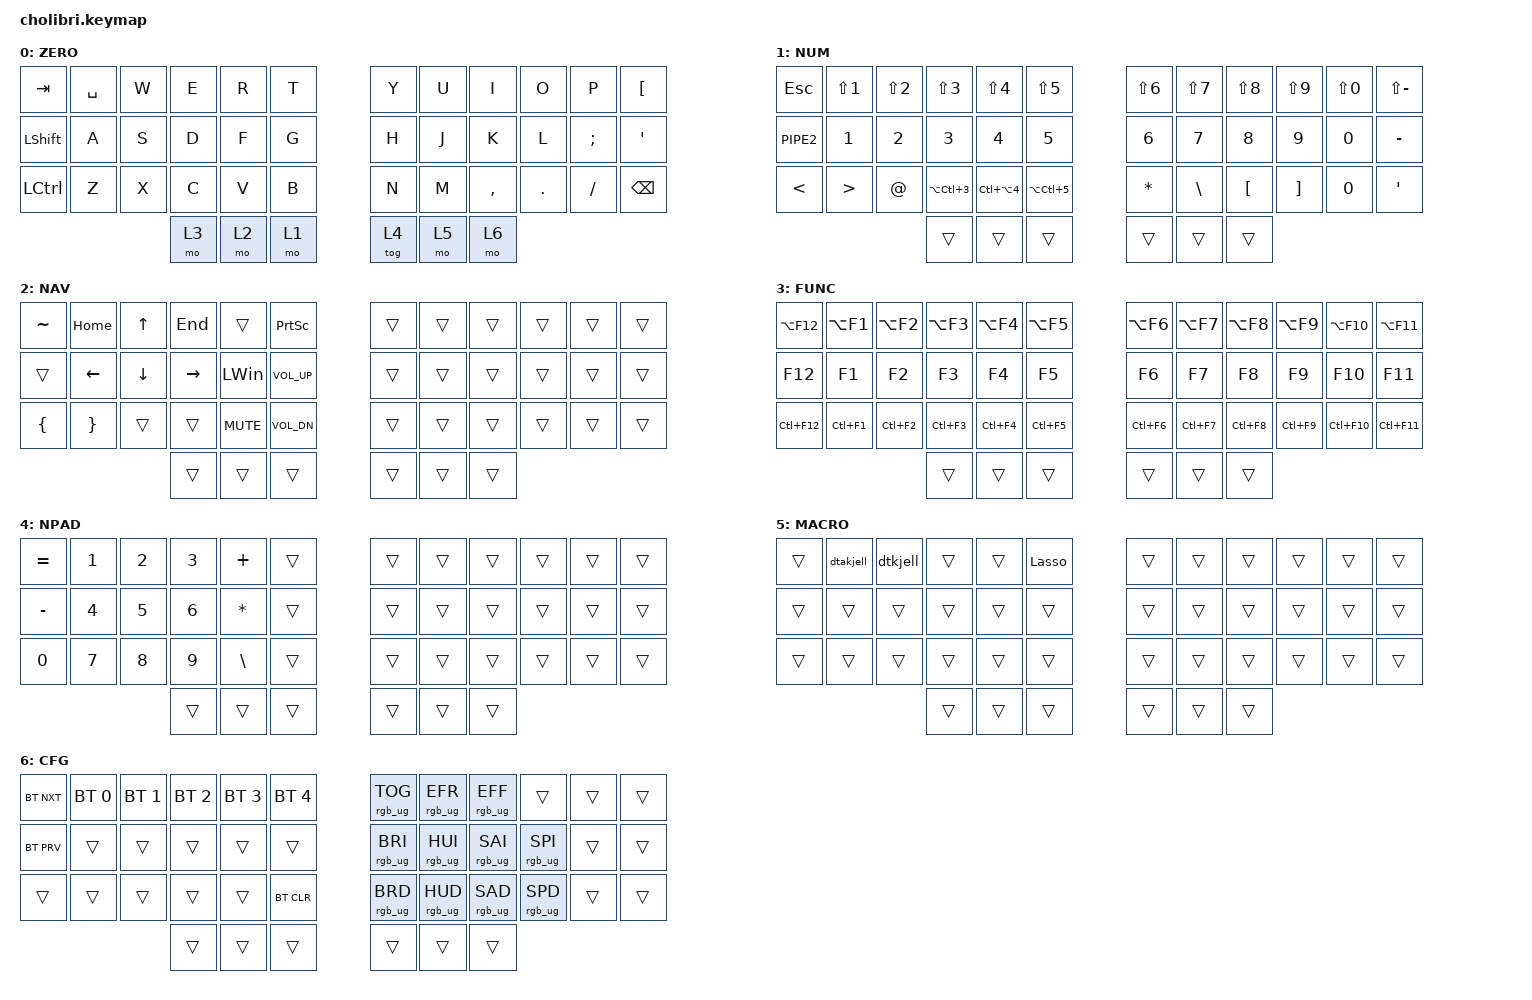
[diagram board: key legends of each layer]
/*
 * Copyright (c) 2020 The ZMK Contributors
 *
 * SPDX-License-Identifier: MIT
 */

#include <behaviors.dtsi>
#include <dt-bindings/zmk/keys.h>
#include <dt-bindings/zmk/bt.h>
#include <dt-bindings/zmk/ext_power.h>
#include <dt-bindings/zmk/outputs.h>
#include <dt-bindings/zmk/mouse.h>

/ {
    combos {
        compatible = "zmk,combos";

        dtpass {
            bindings = <&dtpass>;
            key-positions = <5 4 3>;
        };

        dtapass {
            bindings = <&none>;
            key-positions = <29 28 27>;
        };

        Winlock {
            bindings = <&none>;
            key-positions = <0 11>;
        };

        delete {
            bindings = <&kp DEL>;
            key-positions = <29 38>;
        };
    };

    macros {
        dtapass: dtapass {
            compatible = "zmk,behavior-macro";
            #binding-cells = <0>;
            bindings = <&none &kp F &kp I &kp K &kp A &kp LS(T) &kp LS(I) &kp LS(L) &kp LS(L) &kp M &kp I &kp D &kp D &kp A &kp G &kp N3 &kp N2 &kp N1 &kp N9 &kp EXCL>;
            label = "DTAPASS";
        };

        dtpass: dtpass {
            compatible = "zmk,behavior-macro";
            #binding-cells = <0>;
            bindings = <&none &kp F &kp I &kp K &kp A &kp LS(T) &kp LS(I) &kp LS(L) &kp LS(L) &kp L &kp U &kp N &kp C &kp H &kp N3 &kp N2 &kp N1 &kp N9 &kp EXCL &kp QMARK>;
            label = "DTPASS";
        };

        lock: lock {
            compatible = "zmk,behavior-macro";
            #binding-cells = <0>;
            bindings = <&none &kp LG(L)>;
            label = "LOCK";
        };

        dtakjell: dtakjell {
            compatible = "zmk,behavior-macro";
            #binding-cells = <0>;
            bindings = <&none &kp D &kp T &kp A &kp AT &kp K &kp J &kp E &kp L &kp L &kp DOT &kp C &kp O &kp M>;
            label = "DTAKJELL";
        };

        dtkjell: dtkjell {
            compatible = "zmk,behavior-macro";
            #binding-cells = <0>;
            bindings = <&none &kp D &kp A &kp V &kp I &kp D &kp DOT &kp T &kp O &kp R &kp N &kp V &kp A &kp L &kp L &kp AT &kp K &kp J &kp E &kp L &kp L &kp DOT &kp C &kp O &kp M>;
            label = "DTKJELL";
        };

        Lasso: Lasso {
            compatible = "zmk,behavior-macro";
            #binding-cells = <0>;
            bindings = <&none &kp LS(L) &kp A &kp S &kp S &kp O &kp PRCNT>;
            label = "LASSO";
        };
    };

    keymap {
        compatible = "zmk,keymap";

        DEFAULT {
            // --------------------------------------------------------------------------------------------------------------------------------------------------------------------
            // |   ESC   |    Q    |    W    |    E    |    R    |    T    |                                          |    Y    |    U    |    I    |    O    |    P    |    \    |
            // |   TAB   |    A    |    S    |    D    |    F    |    G    |                                          |    H    |    J    |    K    |    L    |    ;    |    '    |
            // |  SHIFT  |    Z    |    X    |    C    |    V    |    B    |                                          |    N    |    M    |    ,    |    .    |    /    |  R CTRL |
            //                               |   GUI   |   DEL   | RETURN  |  SPACE  |                      |  SPACE  |   TAB   |   BSPC  |  R ALT  |

            bindings = <
&kp TAB         &kp SPACE  &kp W  &kp E  &kp R  &kp T    &kp Y   &kp U  &kp I      &kp O    &kp P     &kp LBKT
&kp LEFT_SHIFT  &kp A      &kp S  &kp D  &kp F  &kp G    &kp H   &kp J  &kp K      &kp L    &kp SEMI  &kp APOS
&kp LCTRL       &kp Z      &kp X  &kp C  &kp V  &kp B    &kp N   &kp M  &kp COMMA  &kp DOT  &kp FSLH  &kp BSPC
                                  &mo 3  &mo 2  &mo 1    &tog 4  &mo 5  &mo 6
            >;

            label = "ZERO";
        };

        NUM {
            bindings = <
&kp ESCAPE     &kp LS(N1)        &kp LS(N2)   &kp LS(N3)      &kp LS(N4)      &kp LS(N5)        &kp LS(N6)    &kp LS(N7)     &kp LS(N8)        &kp LS(N9)         &kp LS(N0)  &kp LS(MINUS)
&kp PIPE2      &kp N1            &kp N2       &kp N3          &kp N4          &kp N5            &kp N6        &kp N7         &kp N8            &kp N9             &kp N0      &kp MINUS
&kp LESS_THAN  &kp GREATER_THAN  &kp AT_SIGN  &kp LA(LC(N3))  &kp LC(LA(N4))  &kp LA(LC(N5))    &kp ASTERISK  &kp BACKSLASH  &kp LEFT_BRACKET  &kp RIGHT_BRACKET  &kp N0      &kp SINGLE_QUOTE
                                              &trans          &trans          &trans            &trans        &trans         &trans
            >;

            label = "NUM";
        };

        NAV {
            bindings = <
&kp TILDE       &kp HOME         &kp UP_ARROW  &kp END    &trans        &kp PRINTSCREEN    &trans  &trans  &trans  &trans  &trans  &trans
&trans          &kp LEFT_ARROW   &kp DOWN      &kp RIGHT  &kp LEFT_WIN  &kp C_VOL_UP       &trans  &trans  &trans  &trans  &trans  &trans
&kp LEFT_BRACE  &kp RIGHT_BRACE  &trans        &trans     &kp K_MUTE    &kp C_VOL_DN       &trans  &trans  &trans  &trans  &trans  &trans
                                               &trans     &trans        &trans             &trans  &trans  &trans
            >;

            label = "NAV";
        };

        FUNC {
            bindings = <
&kp LA(F12)  &kp LA(F1)  &kp LA(F2)  &kp LA(F3)  &kp LA(F4)  &kp LA(F5)    &kp LA(F6)  &kp LA(F7)  &kp LA(F8)  &kp LA(F9)  &kp LA(F10)  &kp LA(F11)
&kp F12      &kp F1      &kp F2      &kp F3      &kp F4      &kp F5        &kp F6      &kp F7      &kp F8      &kp F9      &kp F10      &kp F11
&kp LC(F12)  &kp LC(F1)  &kp LC(F2)  &kp LC(F3)  &kp LC(F4)  &kp LC(F5)    &kp LC(F6)  &kp LC(F7)  &kp LC(F8)  &kp LC(F9)  &kp LC(F10)  &kp LC(F11)
                                     &trans      &trans      &trans        &trans      &trans      &trans
            >;

            label = "FUNC";
        };

        NPAD {
            bindings = <
&kp EQUAL  &kp N1  &kp N2  &kp N3  &kp PLUS       &trans    &trans  &trans  &trans  &trans  &trans  &trans
&kp MINUS  &kp N4  &kp N5  &kp N6  &kp ASTERISK   &trans    &trans  &trans  &trans  &trans  &trans  &trans
&kp N0     &kp N7  &kp N8  &kp N9  &kp BACKSLASH  &trans    &trans  &trans  &trans  &trans  &trans  &trans
                           &trans  &trans         &trans    &trans  &trans  &trans
            >;

            label = "NPAD";
        };

        MACRO {
            bindings = <
&trans  &dtakjell  &dtkjell  &trans  &trans  &Lasso    &trans  &trans  &trans  &trans  &trans  &trans
&trans  &trans     &trans    &trans  &trans  &trans    &trans  &trans  &trans  &trans  &trans  &trans
&trans  &trans     &trans    &trans  &trans  &trans    &trans  &trans  &trans  &trans  &trans  &trans
                             &trans  &trans  &trans    &trans  &trans  &trans
            >;

            label = "MACRO";
        };

        CONF {
            bindings = <
&bt BT_NXT  &bt BT_SEL 0  &bt BT_SEL 1  &bt BT_SEL 2  &bt BT_SEL 3  &bt BT_SEL 4    &rgb_ug RGB_TOG  &rgb_ug RGB_EFR  &rgb_ug RGB_EFF  &trans           &trans  &trans
&bt BT_PRV  &trans        &trans        &trans        &trans        &trans          &rgb_ug RGB_BRI  &rgb_ug RGB_HUI  &rgb_ug RGB_SAI  &rgb_ug RGB_SPI  &trans  &trans
&trans      &trans        &trans        &trans        &trans        &bt BT_CLR      &rgb_ug RGB_BRD  &rgb_ug RGB_HUD  &rgb_ug RGB_SAD  &rgb_ug RGB_SPD  &trans  &trans
                                        &trans        &trans        &trans          &trans           &trans           &trans
            >;

            label = "CFG";
        };
    };
};

